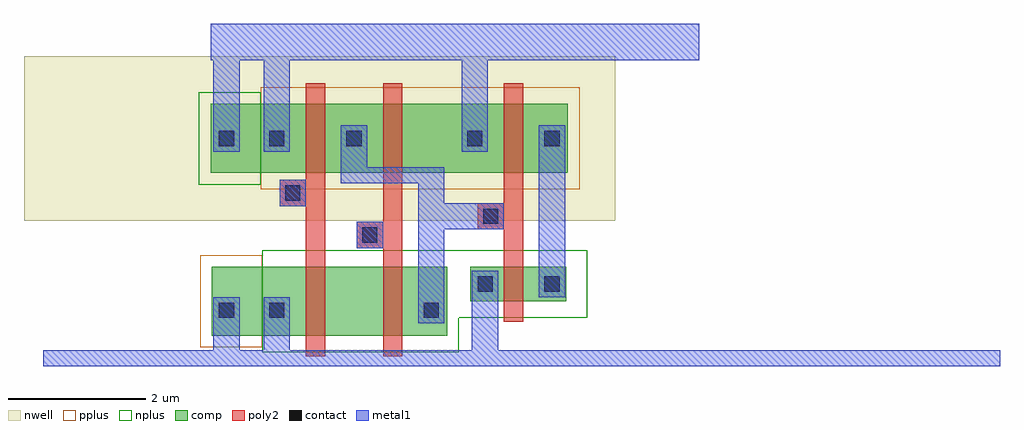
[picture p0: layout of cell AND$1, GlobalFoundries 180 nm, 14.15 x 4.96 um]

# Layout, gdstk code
import gdstk
lib = gdstk.Library(unit=1e-6, precision=5e-09)
def R(c, l, rs):  # rectangles x0, y0, x1, y1
    for r in rs: c.add(gdstk.rectangle(r[:2], r[2:], *l))
nwell = (21, 0)
comp = (22, 0)
poly2 = (30, 0)
pplus = (31, 0)
nplus = (32, 0)
contact = (33, 0)
metal1 = (34, 0)

and_1 = lib.new_cell('AND$1')
R(and_1, nwell, [(-6.415,0.945,2.16,3.325)])
R(and_1, comp, [(-3.69,-0.725,-2.96,0.275), (-2.96,-0.725,-2.54,0.275), (-2.54,-0.725,-1.84,0.275), (-1.84,-0.725,-1.42,0.275), (-1.42,-0.725,-0.72,0.275), (-0.93,-0.725,-0.28,0.275), (0.055,-0.225,0.48,0.275), (0.48,-0.225,1.03,0.275), (1.03,-0.225,1.45,0.275), (-3.71,1.635,-2.98,2.635), (-2.98,1.635,-2.52,2.635), (-2.52,1.635,-1.86,2.635), (-1.86,1.635,-1.4,2.635), (-1.4,1.635,-0.74,2.635), (-0.74,1.635,-0.11,2.635), (-0.11,1.635,0.35,2.635), (0.35,1.635,1.01,2.635), (1.01,1.635,1.47,2.635)])
R(and_1, poly2, [(-2.33,-1.025,-2.05,2.935), (-1.21,-1.025,-0.93,2.935), (0.54,-0.525,0.82,2.935), (-1.59,0.545,-1.21,0.925), (0.16,0.815,0.54,1.195), (-2.71,1.155,-2.33,1.535)])
R(and_1, pplus, [(-3.86,-0.895,-2.96,0.445), (-2.98,1.395,1.64,2.875)])
R(and_1, nplus, [(-2.96,-0.965,-0.11,0.515), (-0.11,-0.465,1.75,0.515), (-3.88,1.465,-2.98,2.805)])
R(and_1, contact, [(-3.59,-0.465,-3.37,-0.245), (-2.86,-0.465,-2.64,-0.245), (-0.62,-0.465,-0.4,-0.245), (0.16,-0.085,0.38,0.135), (1.13,-0.085,1.35,0.135), (-1.51,0.625,-1.29,0.845), (0.24,0.895,0.46,1.115), (-2.63,1.235,-2.41,1.455), (-3.59,2.025,-3.37,2.245), (-2.86,2.025,-2.64,2.245), (-1.74,2.025,-1.52,2.245), (0.01,2.025,0.23,2.245), (1.13,2.025,1.35,2.245)])
R(and_1, metal1, [(-6.135,-1.165,7.735,-0.935), (-3.67,-0.935,-3.29,-0.775), (-2.94,-0.935,-2.56,-0.775), (0.08,-0.935,0.46,-0.395), (-3.67,-0.775,-3.29,-0.545), (-2.94,-0.775,-2.56,-0.545), (-3.67,-0.545,-3.29,-0.165), (-2.94,-0.545,-2.56,-0.165), (-0.7,-0.545,-0.32,-0.165), (0.08,-0.395,0.46,-0.165), (-0.7,-0.165,-0.32,1.715), (0.08,-0.165,0.46,0.215), (1.05,-0.165,1.43,0.215), (1.05,0.215,1.43,1.945), (-1.59,0.545,-1.21,0.925), (-0.32,0.815,0.16,1.195), (0.16,0.815,0.54,1.195), (-2.71,1.155,-2.33,1.535), (-1.82,1.485,-0.7,1.715), (-1.82,1.715,-1.44,1.945), (-3.67,1.945,-3.29,2.325), (-2.94,1.945,-2.56,2.325), (-1.82,1.945,-1.44,2.325), (-0.07,1.945,0.31,2.325), (1.05,1.945,1.43,2.325), (-3.67,2.325,-3.29,3.265), (-2.94,2.325,-2.56,3.265), (-0.07,2.325,0.31,3.265), (-3.71,3.265,3.375,3.795)])

lib.write_gds('AND_1.gds')
